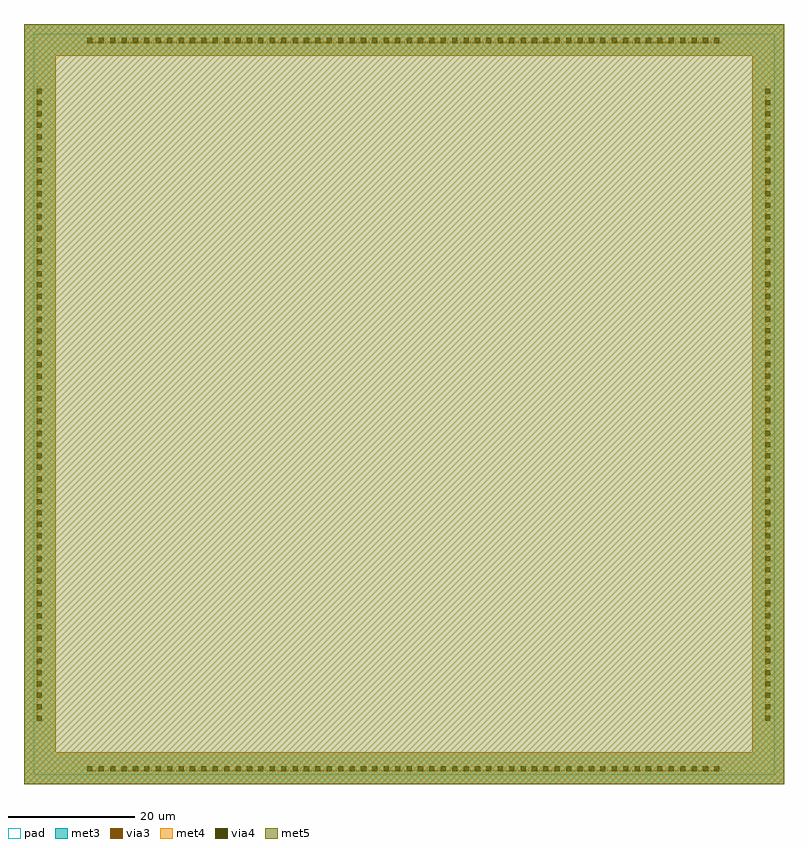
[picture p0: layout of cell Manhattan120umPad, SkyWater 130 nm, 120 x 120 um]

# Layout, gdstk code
import gdstk
lib = gdstk.Library(unit=1e-6, precision=1e-09)
def R(c, l, rs):  # rectangles x0, y0, x1, y1
    for r in rs: c.add(gdstk.rectangle(r[:2], r[2:], *l))
def A(c, l, x, y, w, h, nx, ny, dx, dy):  # array of equal rectangles
    R(c, l, [(x+i*dx, y+j*dy, x+i*dx+w, y+j*dy+h) for i in range(nx) for j in range(ny)])
def P(c, l, *ps):  # polygons
    for p in ps: c.add(gdstk.Polygon(p, *l))
met3 = (70, 20)
via3 = (70, 44)
met4 = (71, 20)
via4 = (71, 44)
met5 = (72, 20)
pad = (76, 20)

manhattan120umpad = lib.new_cell('Manhattan120umPad')
P(manhattan120umpad, met3, [(60,60),(-60,60),(-60,-55),(-55,-55),(-55,55),(55,55),(55,-55),(-55,-55),(-60,-55),(-60,-60),(60,-60)])
A(manhattan120umpad, via3, -50, -58, 0.2, 0.2, 251, 2, 0.4, 115)
A(manhattan120umpad, via3, -58, -50, 0.2, 0.2, 1, 251, 0, 0.4)
A(manhattan120umpad, via3, 57, -50, 0.2, 0.2, 1, 251, 0, 0.4)
P(manhattan120umpad, met4, [(60,60),(-60,60),(-60,-55),(-55,-55),(-55,55),(55,55),(55,-55),(-55,-55),(-60,-55),(-60,-60),(60,-60)])
A(manhattan120umpad, via4, -50, -58, 0.8, 0.8, 56, 2, 1.8, 115)
A(manhattan120umpad, via4, -58, -50, 0.8, 0.8, 1, 56, 0, 1.8)
A(manhattan120umpad, via4, 57, -50, 0.8, 0.8, 1, 56, 0, 1.8)
R(manhattan120umpad, met5, [(-60,-60,60,60)])
R(manhattan120umpad, pad, [(-58.5,-58.5,58.5,58.5)])

lib.write_gds('Manhattan120umPad.gds')
